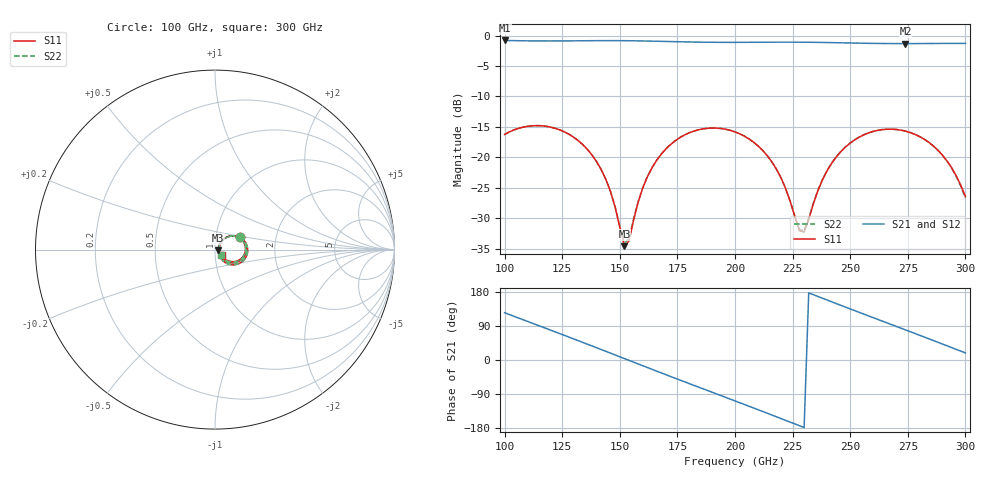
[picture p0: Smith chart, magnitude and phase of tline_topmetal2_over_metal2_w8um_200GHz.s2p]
#  GHZ S DB R 50
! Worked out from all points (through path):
!   101 points, 100 GHz to 300 GHz, reference 50 ohm
!   highest |S21| = -0.81 dB at 100 GHz (marker M1); lowest = -1.3 dB at 274 GHz (marker M2)
!   group delay of S21, straight-line fit = 6.48 ps
!   lowest |S11| = -34.6 dB at 152 GHz (marker M3), VSWR 1.04, Z = 51.8 - j0.507 ohm
!   |S11| at or under -10 dB: start of sweep to end of sweep
!   |S22| runs from -34.2 to -14.8 dB; largest |S21 - S12| = 1.6e-13
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100  -16.24 27.0  -0.81 124.7  -0.81 124.7  -16.23 26.6
116  -14.82 -5.9  -0.89 87.9  -0.89 87.9  -14.81 -6.0
134  -17.94 -41.9  -0.86 46.3  -0.86 46.3  -17.94 -41.8
144  -23.67 -56.3  -0.84 22.7  -0.84 22.7  -23.66 -55.8
152  -34.59 -15.2  -0.85 3.8  -0.85 3.8  -34.19 -14.2
154  -33.72 24.3  -0.85 -1.0  -0.85 -1.0  -33.34 23.3
160  -25.00 53.2  -0.89 -15.2  -0.89 -15.2  -24.92 52.1
168  -19.48 44.4  -0.95 -34.0  -0.95 -34.0  -19.45 43.8
184  -15.49 14.0  -1.08 -71.2  -1.08 -71.2  -15.48 13.5
200  -15.82 -17.9  -1.12 -108.0  -1.12 -108.0  -15.82 -18.2
216  -20.74 -45.4  -1.09 -145.2  -1.09 -145.2  -20.75 -45.5
222  -25.14 -48.1  -1.08 -159.3  -1.08 -159.3  -25.14 -47.9
228  -32.05 -15.7  -1.09 -173.5  -1.09 -173.5  -31.88 -15.1
230  -32.27 13.3  -1.10 -178.2  -1.10 -178.2  -32.03 13.1
234  -27.65 45.6  -1.11 172.3  -1.11 172.3  -27.52 44.6
240  -22.19 49.5  -1.15 158.2  -1.15 158.2  -22.13 48.6
248  -18.29 38.7  -1.21 139.5  -1.21 139.5  -18.26 37.9
258  -15.98 20.3  -1.28 116.3  -1.28 116.3  -15.96 19.5
268  -15.38 0.8  -1.32 93.3  -1.32 93.3  -15.37 -0.0
274  -15.70 -10.8  -1.32 79.4  -1.32 79.4  -15.69 -11.8
290  -19.62 -38.6  -1.30 42.3  -1.30 42.3  -19.64 -40.2
300  -26.42 -39.6  -1.29 18.7  -1.29 18.7  -26.70 -43.0
